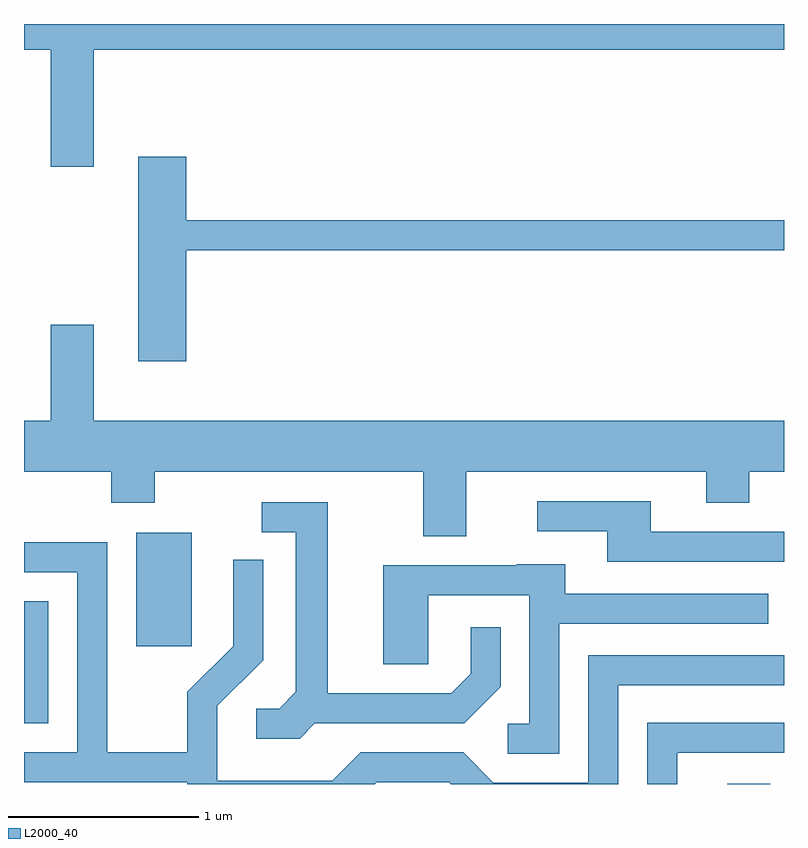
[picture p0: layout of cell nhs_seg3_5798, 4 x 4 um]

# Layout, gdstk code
import gdstk
lib = gdstk.Library(unit=1e-6, precision=1e-09)
def R(c, l, rs):  # rectangles x0, y0, x1, y1
    for r in rs: c.add(gdstk.rectangle(r[:2], r[2:], *l))
def P(c, l, *ps):  # polygons
    for p in ps: c.add(gdstk.Polygon(p, *l))
L2000_40 = (2000, 40)

nhs_seg3_5798 = lib.new_cell('nhs_seg3_5798')
R(nhs_seg3_5798, L2000_40, [(359.311,1159.892,359.539,1159.894), (355.611,1160.211,355.739,1160.854), (356.201,1160.616,356.494,1161.214)])
P(nhs_seg3_5798, L2000_40, [(355.611,1163.756),(355.751,1163.756),(355.751,1163.141),(355.979,1163.141),(355.979,1163.756),(359.611,1163.756),(359.611,1163.892),(355.611,1163.892)],
  [(356.464,1162.701),(359.611,1162.701),(359.611,1162.859),(356.464,1162.859),(356.464,1163.194),(356.211,1163.194),(356.211,1162.116),(356.464,1162.116)],
  [(357.939,1161.536),(359.201,1161.536),(359.201,1161.371),(359.429,1161.371),(359.429,1161.536),(359.611,1161.536),(359.611,1161.804),(355.979,1161.804),(355.979,1162.309),(355.751,1162.309),(355.751,1161.804),(355.611,1161.804),(355.611,1161.536),(356.071,1161.536),(356.071,1161.371),(356.299,1161.371),(356.299,1161.536),(357.711,1161.536),(357.711,1161.196),(357.939,1161.196)],
  [(359.611,1161.219),(358.909,1161.219),(358.909,1161.379),(358.313,1161.379),(358.313,1161.221),(358.681,1161.221),(358.681,1161.061),(359.611,1161.061)],
  [(357.142,1160.211),(357.927,1160.211),(358.119,1160.404),(358.119,1160.718),(357.961,1160.718),(357.961,1160.472),(357.859,1160.369),(357.209,1160.369),(357.209,1161.374),(356.863,1161.374),(356.863,1161.216),(357.041,1161.216),(357.041,1160.377),(356.954,1160.289),(356.833,1160.289),(356.833,1160.131),(357.062,1160.131)],
  [(357.467,1159.901),(357.849,1159.901),(357.858,1159.892),(358.739,1159.892),(358.739,1160.411),(359.611,1160.411),(359.611,1160.569),(358.581,1160.569),(358.581,1159.899),(358.082,1159.899),(357.922,1160.059),(357.384,1160.059),(357.234,1159.909),(356.629,1159.909),(356.629,1160.304),(356.869,1160.544),(356.869,1161.073),(356.711,1161.073),(356.711,1160.617),(356.471,1160.377),(356.471,1160.059),(356.049,1160.059),(356.049,1161.164),(355.611,1161.164),(355.611,1161.006),(355.891,1161.006),(355.891,1160.059),(355.611,1160.059),(355.611,1159.901),(356.471,1159.901),(356.471,1159.892),(357.458,1159.892)],
  [(358.429,1160.736),(359.528,1160.736),(359.528,1160.894),(358.459,1160.894),(358.459,1161.049),(358.205,1161.049),(358.205,1161.044),(357.501,1161.044),(357.501,1160.521),(357.739,1160.521),(357.739,1160.886),(358.271,1160.886),(358.271,1160.209),(358.158,1160.209),(358.158,1160.051),(358.429,1160.051)],
  [(359.049,1160.056),(359.611,1160.056),(359.611,1160.214),(358.891,1160.214),(358.891,1159.892),(359.049,1159.892)])

lib.write_gds('nhs_seg3_5798.gds')
